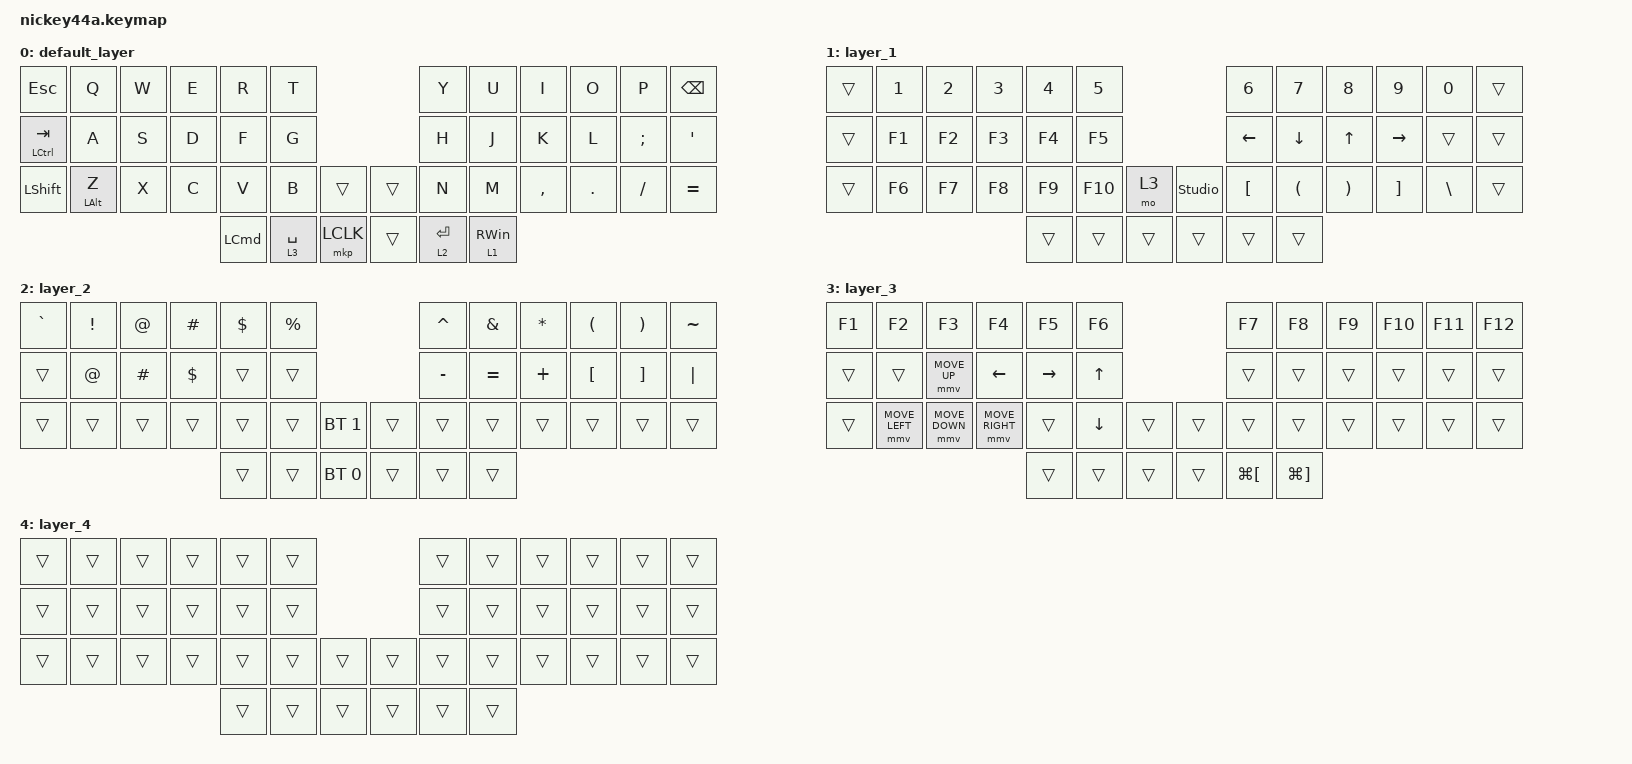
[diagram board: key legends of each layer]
#include <behaviors.dtsi>
#include <dt-bindings/zmk/bt.h>
#include <dt-bindings/zmk/keys.h>
#include <dt-bindings/zmk/pointing.h>

&mt {
    flavor = "balanced";
    quick-tap-ms = <0>;
};

&lt {
    quick-tap-ms = <300>;
    flavor = "balanced";
};

/ {
    combos { compatible = "zmk,combos"; };

    macros {
        to_layer_0: to_layer_0 {
            compatible = "zmk,behavior-macro-one-param";
            #binding-cells = <1>;
            bindings = <&to 0 &macro_param_1to1 &kp MACRO_PLACEHOLDER>;
            label = "TO_LAYER_0";
        };
    };

    behaviors {
        lt_to_layer_0: lt_to_layer_0 {
            compatible = "zmk,behavior-hold-tap";
            label = "LAYER_TAP_TO_0";
            bindings = <&mo>, <&to_layer_0>;

            #binding-cells = <2>;
            tapping-term-ms = <200>;
        };
    };

    keymap {
        compatible = "zmk,keymap";

        default_layer {
            bindings = <
&kp ESC        &kp Q           &kp W  &kp E  &kp R     &kp T                             &kp Y        &kp U            &kp I      &kp O    &kp P     &kp BACKSPACE
&mt LCTRL TAB  &kp A           &kp S  &kp D  &kp F     &kp G                             &kp H        &kp J            &kp K      &kp L    &kp SEMI  &kp SQT
&kp LSHFT      &mt LEFT_ALT Z  &kp X  &kp C  &kp V     &kp B        &trans       &trans  &kp N        &kp M            &kp COMMA  &kp DOT  &kp FSLH  &kp EQUAL
                                             &kp LCMD  &lt 3 SPACE  &mkp LCLK    &trans  &lt 2 ENTER  &lt 1 RIGHT_WIN
            >;
        };

        layer_1 {
            bindings = <
&trans  &kp NUMBER_1  &kp NUMBER_2  &kp NUMBER_3  &kp NUMBER_4  &kp NUMBER_5                            &kp NUMBER_6      &kp N7                &kp N8                 &kp N9             &kp N0         &trans
&trans  &kp F1        &kp F2        &kp F3        &kp F4        &kp F5                                  &kp LEFT          &kp DOWN              &kp UP                 &kp RIGHT          &trans         &trans
&trans  &kp F6        &kp F7        &kp F8        &kp F9        &kp F10       &mo 3     &studio_unlock  &kp LEFT_BRACKET  &kp LEFT_PARENTHESIS  &kp RIGHT_PARENTHESIS  &kp RIGHT_BRACKET  &kp BACKSLASH  &trans
                                                  &trans        &trans        &trans    &trans          &trans            &trans
            >;
        };

        layer_2 {
            bindings = <
&kp GRAVE  &kp EXCLAMATION  &kp AT_SIGN  &kp HASH    &kp DOLLAR  &kp PERCENT                          &kp CARET  &kp AMPERSAND  &kp ASTERISK  &kp LPAR          &kp RIGHT_PARENTHESIS  &kp TILDE
&trans     &kp AT           &kp HASH     &kp DOLLAR  &trans      &trans                               &kp MINUS  &kp EQUAL      &kp PLUS      &kp LEFT_BRACKET  &kp RIGHT_BRACKET      &kp PIPE
&trans     &trans           &trans       &trans      &trans      &trans       &bt BT_SEL 1    &trans  &trans     &trans         &trans        &trans            &trans                 &trans
                                                     &trans      &trans       &bt BT_SEL 0    &trans  &trans     &trans
            >;
        };

        layer_3 {
            bindings = <
&kp F1  &kp F2          &kp F3          &kp F4           &kp F5     &kp F6                          &kp F7                &kp F8                 &kp F9  &kp F10  &kp F11  &kp F12
&trans  &trans          &mmv MOVE_UP    &kp LEFT         &kp RIGHT  &kp UP_ARROW                    &trans                &trans                 &trans  &trans   &trans   &trans
&trans  &mmv MOVE_LEFT  &mmv MOVE_DOWN  &mmv MOVE_RIGHT  &trans     &kp DOWN      &trans    &trans  &trans                &trans                 &trans  &trans   &trans   &trans
                                                         &trans     &trans        &trans    &trans  &kp LG(LEFT_BRACKET)  &kp LG(RIGHT_BRACKET)
            >;
        };

        layer_4 {
            bindings = <
&trans  &trans  &trans  &trans  &trans  &trans                    &trans  &trans  &trans  &trans  &trans  &trans
&trans  &trans  &trans  &trans  &trans  &trans                    &trans  &trans  &trans  &trans  &trans  &trans
&trans  &trans  &trans  &trans  &trans  &trans  &trans    &trans  &trans  &trans  &trans  &trans  &trans  &trans
                                &trans  &trans  &trans    &trans  &trans  &trans
            >;
        };
    };
};
